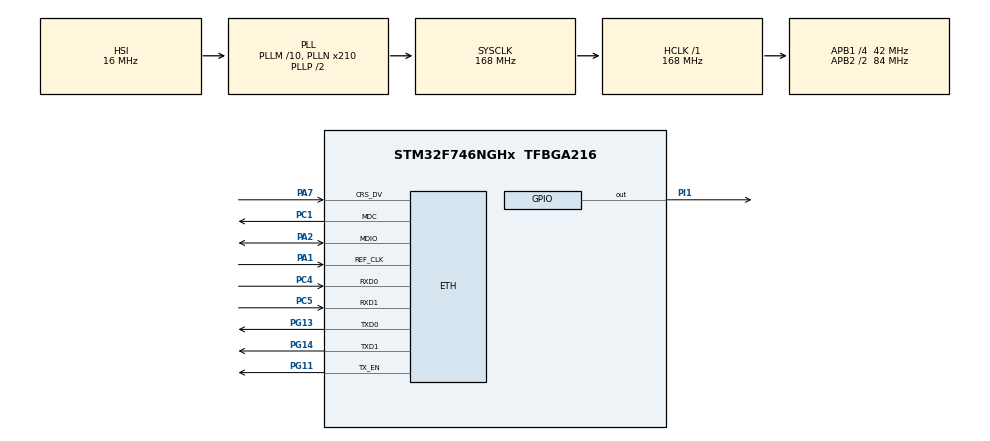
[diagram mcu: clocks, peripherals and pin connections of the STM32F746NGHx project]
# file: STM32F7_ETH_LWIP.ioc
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ETH.MediaInterface=ETH_MEDIA_INTERFACE_RMII
ETH.PhyAddress=0
LWIP.CHECKSUM_BY_HARDWARE=0
LWIP.GATEWAY_ADDRESS=010.010.000.254
LWIP.IP_ADDRESS=010.010.000.111
LWIP.LWIP_DHCP=0
LWIP.NETMASK_ADDRESS=255.255.255.000
LWIP.Version=v2.0.0_Cube
Mcu.Family=STM32F7
Mcu.Name=STM32F746NGHx
Mcu.Package=TFBGA216
NVIC.PriorityGroup=NVIC_PRIORITYGROUP_4
PA1.Mode=RMII
PA1.Signal=ETH_REF_CLK
PA2.Mode=RMII
PA2.Signal=ETH_MDIO
PA7.Mode=RMII
PA7.Signal=ETH_CRS_DV
PC1.Mode=RMII
PC1.Signal=ETH_MDC
PC4.Mode=RMII
PC4.Signal=ETH_RXD0
PC5.Mode=RMII
PC5.Signal=ETH_RXD1
PG11.Mode=RMII
PG11.Signal=ETH_TX_EN
PG13.Mode=RMII
PG13.Signal=ETH_TXD0
PG14.Mode=RMII
PG14.Signal=ETH_TXD1
PI1.Signal=GPIO_Output
ProjectManager.HeapSize=0x200
ProjectManager.StackSize=0x400
ProjectManager.TargetToolchain=STM32CubeIDE
RCC.AHBFreq_Value=168000000
RCC.APB1CLKDivider=RCC_HCLK_DIV4
RCC.APB1Freq_Value=42000000
RCC.APB1TimFreq_Value=84000000
RCC.APB2CLKDivider=RCC_HCLK_DIV2
RCC.APB2Freq_Value=84000000
RCC.APB2TimFreq_Value=168000000
RCC.CortexFreq_Value=168000000
RCC.HCLKFreq_Value=168000000
RCC.HSE_VALUE=25000000
RCC.HSI_VALUE=16000000
RCC.LSE_VALUE=32768
RCC.PLLM=10
RCC.PLLN=210
RCC.PLLSourceVirtual=RCC_PLLSOURCE_HSI
RCC.SYSCLKFreq_VALUE=168000000
RCC.SYSCLKSource=RCC_SYSCLKSOURCE_PLLCLK
RCC.USBFreq_Value=168000000
RCC.VCOOutputFreq_Value=336000000
VP_LWIP_VS_Enabled.Mode=Enabled
board=STM32F746G-DISCO

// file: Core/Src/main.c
/**
  ******************************************************************************
  * File Name          : main.c
  * Description        : Main program body
  ******************************************************************************
  * This notice applies to any and all portions of this file
  * that are not between comment pairs USER CODE BEGIN and
  * USER CODE END. Other portions of this file, whether
  * inserted by the user or by software development tools
  * are owned by their respective copyright owners.
  *
  * Copyright (c) 2024 STMicroelectronics International N.V.
  * All rights reserved.
  *
  * Redistribution and use in source and binary forms, with or without
  * modification, are permitted, provided that the following conditions are met:
  *
  * 1. Redistribution of source code must retain the above copyright notice,
  *    this list of conditions and the following disclaimer.
  * 2. Redistributions in binary form must reproduce the above copyright notice,
  *    this list of conditions and the following disclaimer in the documentation
  *    and/or other materials provided with the distribution.
  * 3. Neither the name of STMicroelectronics nor the names of other
  *    contributors to this software may be used to endorse or promote products
  *    derived from this software without specific written permission.
  * 4. This software, including modifications and/or derivative works of this
  *    software, must execute solely and exclusively on microcontroller or
  *    microprocessor devices manufactured by or for STMicroelectronics.
  * 5. Redistribution and use of this software other than as permitted under
  *    this license is void and will automatically terminate your rights under
  *    this license.
  *
  * THIS SOFTWARE IS PROVIDED BY STMICROELECTRONICS AND CONTRIBUTORS "AS IS"
  * AND ANY EXPRESS, IMPLIED OR STATUTORY WARRANTIES, INCLUDING, BUT NOT
  * LIMITED TO, THE IMPLIED WARRANTIES OF MERCHANTABILITY, FITNESS FOR A
  * PARTICULAR PURPOSE AND NON-INFRINGEMENT OF THIRD PARTY INTELLECTUAL PROPERTY
  * RIGHTS ARE DISCLAIMED TO THE FULLEST EXTENT PERMITTED BY LAW. IN NO EVENT
  * SHALL STMICROELECTRONICS OR CONTRIBUTORS BE LIABLE FOR ANY DIRECT, INDIRECT,
  * INCIDENTAL, SPECIAL, EXEMPLARY, OR CONSEQUENTIAL DAMAGES (INCLUDING, BUT NOT
  * LIMITED TO, PROCUREMENT OF SUBSTITUTE GOODS OR SERVICES; LOSS OF USE, DATA,
  * OR PROFITS; OR BUSINESS INTERRUPTION) HOWEVER CAUSED AND ON ANY THEORY OF
  * LIABILITY, WHETHER IN CONTRACT, STRICT LIABILITY, OR TORT (INCLUDING
  * NEGLIGENCE OR OTHERWISE) ARISING IN ANY WAY OUT OF THE USE OF THIS SOFTWARE,
  * EVEN IF ADVISED OF THE POSSIBILITY OF SUCH DAMAGE.
  *
  ******************************************************************************
  */

#include "main.h"
#include "stm32f7xx_hal.h"
#include "lwip.h"
#include "gpio.h"

/* USER CODE BEGIN PV */
/* Private variables ---------------------------------------------------------*/

/* USER CODE END PV */

void SystemClock_Config(void);

/* USER CODE BEGIN PFP */
/* Private function prototypes -----------------------------------------------*/

/* USER CODE END PFP */

/* USER CODE BEGIN 0 */
void Delay(volatile int number)
{
int j;
for(j = 0; j < number*4000; j++)
{}
}
extern struct netif gnetif;
void udp_receive_callback(void *arg, struct udp_pcb *upcb, struct pbuf *p, const ip_addr_t *addr, u16_t port)
{   char buffer[100];
	/* Copy the data from the pbuf */
	strncpy (buffer, (char *)p->payload, p->len);
	if(buffer[0]=='o'){
		HAL_GPIO_WritePin(GPIOI, GPIO_PIN_1, GPIO_PIN_SET);
	}
	else{
		HAL_GPIO_WritePin(GPIOI, GPIO_PIN_1, GPIO_PIN_RESET);
	}
	/* Free receive pbuf */
	pbuf_free(p);
}

void udpServer_init(void)
{
	// UDP Control Block structure
   struct udp_pcb *upcb;
   err_t err;

   /* 1. Create a new UDP control block  */
   upcb = udp_new();

   /* 2. Bind the upcb to the local port */
   ip_addr_t myIPADDR;
   IP_ADDR4(&myIPADDR, 10, 10, 0, 111);

   err = udp_bind(upcb, &myIPADDR, 7);  // 7 is the server UDP port

   /* 3. Set a receive callback for the upcb */
   if(err == ERR_OK)
   {
	   udp_recv(upcb, udp_receive_callback, NULL);
	   HAL_GPIO_WritePin(GPIOI, GPIO_PIN_1, GPIO_PIN_SET);
	   Delay(1000);
	   HAL_GPIO_WritePin(GPIOI, GPIO_PIN_1, GPIO_PIN_RESET);
	   Delay(1000);
	   HAL_GPIO_WritePin(GPIOI, GPIO_PIN_1, GPIO_PIN_SET);
	   	   Delay(1000);
	   	   HAL_GPIO_WritePin(GPIOI, GPIO_PIN_1, GPIO_PIN_RESET);
   }
   else
   {
	   udp_remove(upcb);
   }
}
/* USER CODE END 0 */

int main(void)
{

  /* MCU Configuration----------------------------------------------------------*/

  /* Reset of all peripherals, Initializes the Flash interface and the Systick. */
  HAL_Init();

  /* Configure the system clock */
  SystemClock_Config();

  /* Initialize all configured peripherals */
  MX_GPIO_Init();
  MX_LWIP_Init();

  /* USER CODE BEGIN 2 */
udpServer_init();
  /* USER CODE END 2 */

  /* Infinite loop */
  while (1)
  {

  /* USER CODE BEGIN 3 */
   MX_LWIP_Process();
  }
  /* USER CODE END 3 */

}

/** System Clock Configuration
*/
void SystemClock_Config(void)
{

  RCC_OscInitTypeDef RCC_OscInitStruct;
  RCC_ClkInitTypeDef RCC_ClkInitStruct;

    /**Configure the main internal regulator output voltage
    */
  __HAL_RCC_PWR_CLK_ENABLE();

  __HAL_PWR_VOLTAGESCALING_CONFIG(PWR_REGULATOR_VOLTAGE_SCALE2);

    /**Initializes the CPU, AHB and APB busses clocks
    */
  RCC_OscInitStruct.OscillatorType = RCC_OSCILLATORTYPE_HSI;
  RCC_OscInitStruct.HSIState = RCC_HSI_ON;
  RCC_OscInitStruct.HSICalibrationValue = 16;
  RCC_OscInitStruct.PLL.PLLState = RCC_PLL_ON;
  RCC_OscInitStruct.PLL.PLLSource = RCC_PLLSOURCE_HSI;
  RCC_OscInitStruct.PLL.PLLM = 10;
  RCC_OscInitStruct.PLL.PLLN = 210;
  RCC_OscInitStruct.PLL.PLLP = RCC_PLLP_DIV2;
  RCC_OscInitStruct.PLL.PLLQ = 2;
  if (HAL_RCC_OscConfig(&RCC_OscInitStruct) != HAL_OK)
  {
    _Error_Handler(__FILE__, __LINE__);
  }

    /**Initializes the CPU, AHB and APB busses clocks
    */
  RCC_ClkInitStruct.ClockType = RCC_CLOCKTYPE_HCLK|RCC_CLOCKTYPE_SYSCLK
                              |RCC_CLOCKTYPE_PCLK1|RCC_CLOCKTYPE_PCLK2;
  RCC_ClkInitStruct.SYSCLKSource = RCC_SYSCLKSOURCE_PLLCLK;
  RCC_ClkInitStruct.AHBCLKDivider = RCC_SYSCLK_DIV1;
  RCC_ClkInitStruct.APB1CLKDivider = RCC_HCLK_DIV4;
  RCC_ClkInitStruct.APB2CLKDivider = RCC_HCLK_DIV2;

  if (HAL_RCC_ClockConfig(&RCC_ClkInitStruct, FLASH_LATENCY_5) != HAL_OK)
  {
    _Error_Handler(__FILE__, __LINE__);
  }

    /**Configure the Systick interrupt time
    */
  HAL_SYSTICK_Config(HAL_RCC_GetHCLKFreq()/1000);

    /**Configure the Systick
    */
  HAL_SYSTICK_CLKSourceConfig(SYSTICK_CLKSOURCE_HCLK);

  /* SysTick_IRQn interrupt configuration */
  HAL_NVIC_SetPriority(SysTick_IRQn, 15, 0);
}

void _Error_Handler(char * file, int line)
{
  while(1)
  {
  }
}

/************************ (C) COPYRIGHT STMicroelectronics *****END OF FILE****/
